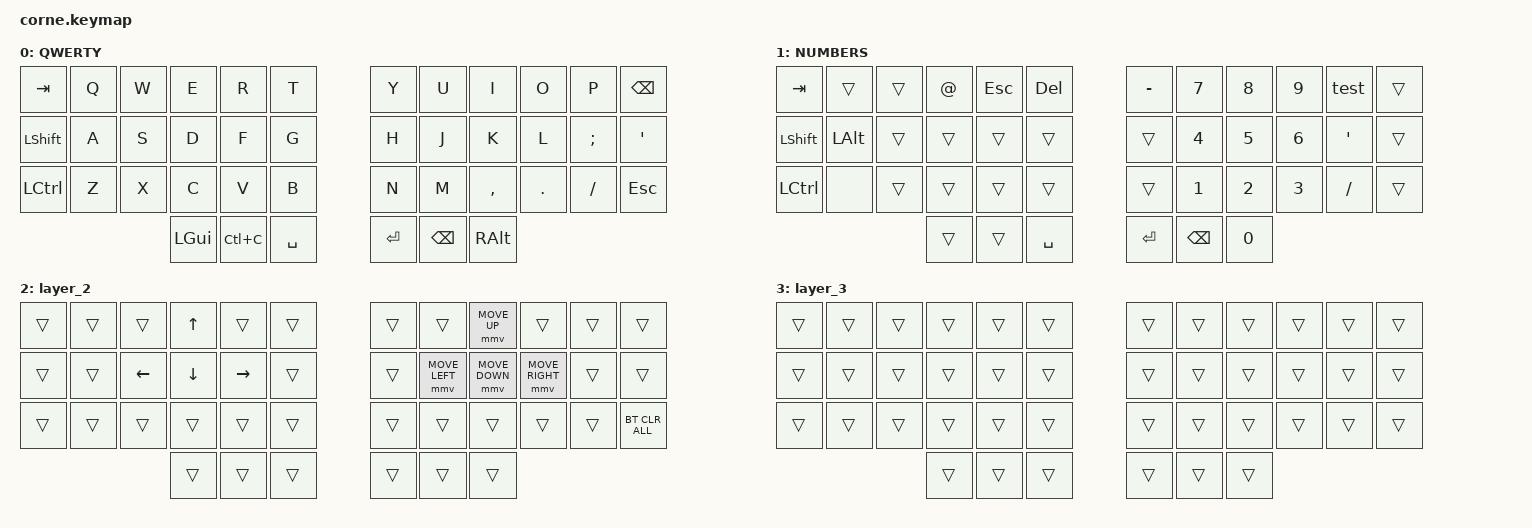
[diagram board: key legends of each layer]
/*
 * Copyright (c) 2020 The ZMK Contributors
 *
 * SPDX-License-Identifier: MIT
 */

#include <behaviors.dtsi>
#include <dt-bindings/zmk/bt.h>
#include <dt-bindings/zmk/keys.h>
#include <dt-bindings/zmk/pointing.h>

/ {
    combos {
        compatible = "zmk,combos";

        PASTE {
            bindings = <&kp LC(V)>;
            key-positions = <37 16>;
        };

        NUMBERS {
            bindings = <&mo 1>;
            key-positions = <38 16>;
        };

        mouse {
            bindings = <&mo 2>;
            key-positions = <30 9>;
        };
    };

    macros {
        test: new_macro {
            compatible = "zmk,behavior-macro";
            #binding-cells = <0>;
            bindings = <&kp N3 &kp N2 &kp N2 &kp N0 &kp N4 &kp N2 &kp N0 &kp N7>;
            label = "NEW_MACRO";
        };
    };

    keymap {
        compatible = "zmk,keymap";

        QWERTY {
            // -----------------------------------------------------------------------------------------
            // |  TAB |  Q  |  W  |  E  |  R  |  T  |   |  Y  |  U   |  I  |  O  |  P  | BSPC |
            // | CTRL |  A  |  S  |  D  |  F  |  G  |   |  H  |  J   |  K  |  L  |  ;  |  '   |
            // | SHFT |  Z  |  X  |  C  |  V  |  B  |   |  N  |  M   |  ,  |  .  |  /  | ESC  |
            //                    | GUI | LWR | SPC |   | ENT | RSE  | ALT |

            bindings = <
&kp TAB           &kp Q  &kp W  &kp E     &kp R      &kp T        &kp Y    &kp U          &kp I      &kp O    &kp P     &kp BSPC
&kp LEFT_SHIFT    &kp A  &kp S  &kp D     &kp F      &kp G        &kp H    &kp J          &kp K      &kp L    &kp SEMI  &kp SQT
&kp LEFT_CONTROL  &kp Z  &kp X  &kp C     &kp V      &kp B        &kp N    &kp M          &kp COMMA  &kp DOT  &kp FSLH  &kp ESC
                                &kp LGUI  &kp LC(C)  &kp SPACE    &kp RET  &kp BACKSPACE  &kp RALT
            >;
        };

        NUMBERS {
            // -----------------------------------------------------------------------------------------
            // |  TAB |  1  |  2  |  3  |  4  |  5  |   |  6  |  7  |  8  |  9  |  0  | BSPC |
            // | BTCLR| BT1 | BT2 | BT3 | BT4 | BT5 |   | LFT | DWN |  UP | RGT |     |      |
            // | SHFT |     |     |     |     |     |   |     |     |     |     |     |      |
            //                    | GUI |     | SPC |   | ENT |     | ALT |

            bindings = <
&kp TAB    &trans    &trans  &kp AT_SIGN  &kp ESC  &kp DEL      &kp MINUS  &kp N7    &kp N8  &kp N9  &test     &trans
&kp LSHFT  &kp LALT  &trans  &trans       &trans   &trans       &trans     &kp N4    &kp N5  &kp N6  &kp SQT   &trans
&kp LCTRL  &none     &trans  &trans       &trans   &trans       &trans     &kp N1    &kp N2  &kp N3  &kp FSLH  &trans
                             &trans       &trans   &kp SPACE    &kp RET    &kp BSPC  &kp N0
            >;
        };

        layer_2 {
            bindings = <
&trans  &trans  &trans    &kp UP    &trans     &trans    &trans  &trans          &mmv MOVE_UP    &trans           &trans  &trans
&trans  &trans  &kp LEFT  &kp DOWN  &kp RIGHT  &trans    &trans  &mmv MOVE_LEFT  &mmv MOVE_DOWN  &mmv MOVE_RIGHT  &trans  &trans
&trans  &trans  &trans    &trans    &trans     &trans    &trans  &trans          &trans          &trans           &trans  &bt BT_CLR_ALL
                          &trans    &trans     &trans    &trans  &trans          &trans
            >;
        };

        layer_3 {
            bindings = <
&trans  &trans  &trans  &trans  &trans  &trans    &trans  &trans  &trans  &trans  &trans  &trans
&trans  &trans  &trans  &trans  &trans  &trans    &trans  &trans  &trans  &trans  &trans  &trans
&trans  &trans  &trans  &trans  &trans  &trans    &trans  &trans  &trans  &trans  &trans  &trans
                        &trans  &trans  &trans    &trans  &trans  &trans
            >;
        };
    };
};
